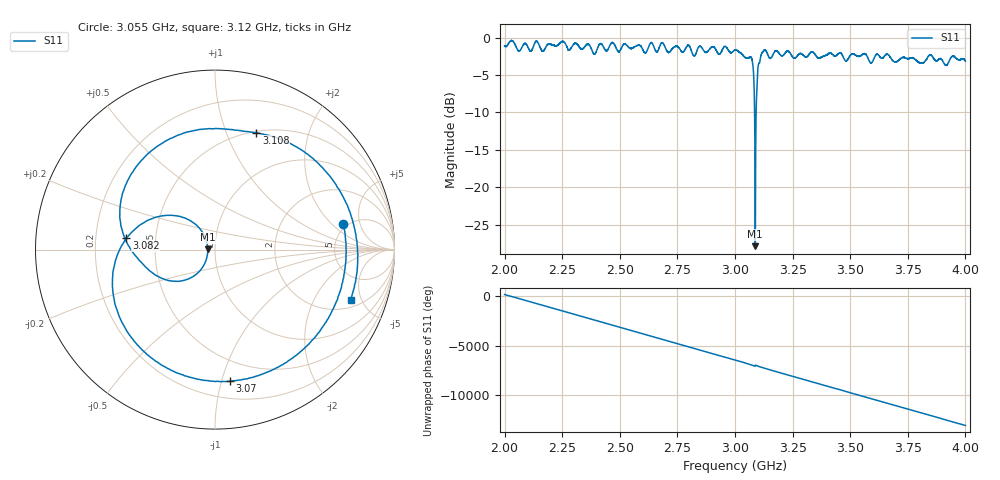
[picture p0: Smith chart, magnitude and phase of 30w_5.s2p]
!Agilent Technologies,E8362B,MY43021131,A.07.50.67
!Agilent E8362B: A.07.50.67
!Date: Thursday, March 14, 2024 14:32:24
!Correction: S11(Off)
!S21(Off)
!S12(Off)
!S22(Off)
!S2P File: Measurements: S11, S21, S12, S22:
# Hz S  RI  R 50
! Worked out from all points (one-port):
!   20001 points, 2 GHz to 4 GHz, reference 50 ohm
!   lowest |S11| = -27.9 dB at 3.088 GHz (marker M1), VSWR 1.08, Z = 46.1 + j0.19 ohm
!   |S11| at or under -10 dB: 3.085033 GHz to 3.091599 GHz (6.566 MHz wide, 0.213 % of centre)
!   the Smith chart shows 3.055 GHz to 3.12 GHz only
!   S11 on the Smith chart (normalised r, x): 3.055 GHz: 4.58, +2.83; 3.07 GHz: 0.33, -1.06; 3.082 GHz: 0.34, +0.06; 3.108 GHz: 0.52, +1.28; 3.12 GHz: 2.55, -4.07
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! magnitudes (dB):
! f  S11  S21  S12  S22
! 2 GHz  -1.1  -  -  -
! 2.139 GHz  -0.5  -  -  -
! 2.166 GHz  -1.8  -  -  -
! 2.252 GHz  -0.5  -  -  -
! 2.333 GHz  -1.5  -  -  -
! 2.667 GHz  -1.7  -  -  -
! 3 GHz  -1.6  -  -  -
! 3.055 GHz  -2.7  -  -  -
! 3.07 GHz  -2.6  -  -  -
! 3.076 GHz  -3.2  -  -  -
! 3.082 GHz  -6.1  -  -  -
! 3.088 GHz  -27.9  -  -  -
! 3.095 GHz  -6.5  -  -  -
! 3.101 GHz  -3.7  -  -  -
! 3.108 GHz  -3.2  -  -  -
! 3.12 GHz  -1.9  -  -  -
! 3.333 GHz  -1.9  -  -  -
! 3.482 GHz  -3.1  -  -  -
! 3.562 GHz  -2.1  -  -  -
! 3.591 GHz  -3.4  -  -  -
! 3.667 GHz  -2.3  -  -  -
! 4 GHz  -3.1  -  -  -
